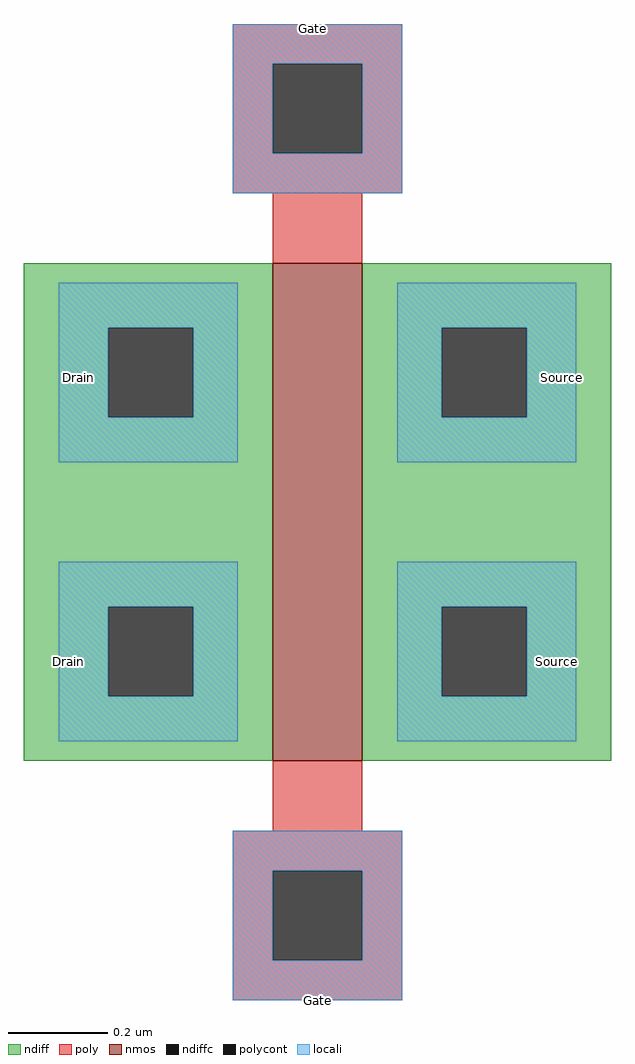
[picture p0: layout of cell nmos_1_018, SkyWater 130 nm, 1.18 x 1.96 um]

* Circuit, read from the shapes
.subckt nmos_1_018 Gate Drain Source
XM1 Source Gate Drain VSUBS sky130_fd_pr__nfet_01v8 w=1 l=0.18
.ends

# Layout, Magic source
magic
tech sky130A
<< nmos >>
rect 53 142 71 242
<< ndiff >>
rect 3 229 53 242
rect 3 211 20 229
rect 37 211 53 229
rect 3 173 53 211
rect 3 155 20 173
rect 37 155 53 173
rect 3 142 53 155
rect 71 229 121 242
rect 71 211 87 229
rect 104 211 121 229
rect 71 173 121 211
rect 71 155 87 173
rect 104 155 121 173
rect 71 142 121 155
<< ndiffc >>
rect 20 211 37 229
rect 20 155 37 173
rect 87 211 104 229
rect 87 155 104 173
<< poly >>
rect 45 282 79 290
rect 45 264 53 282
rect 71 264 79 282
rect 45 256 79 264
rect 53 242 71 256
rect 53 128 71 142
rect 45 120 79 128
rect 45 102 53 120
rect 71 102 79 120
rect 45 94 79 102
<< polycont >>
rect 53 264 71 282
rect 53 102 71 120
<< locali >>
rect 45 282 79 290
rect 45 264 53 282
rect 71 264 79 282
rect 45 256 79 264
rect 10 229 46 238
rect 10 211 20 229
rect 37 211 46 229
rect 10 202 46 211
rect 78 229 114 238
rect 78 211 87 229
rect 104 211 114 229
rect 78 202 114 211
rect 10 173 46 182
rect 10 155 20 173
rect 37 155 46 173
rect 10 146 46 155
rect 78 173 114 182
rect 78 155 87 173
rect 104 155 114 173
rect 78 146 114 155
rect 45 120 79 128
rect 45 102 53 120
rect 71 102 79 120
rect 45 94 79 102
<< labels >>
rlabel locali 62 94 62 94 1 Gate
port 1 n
rlabel locali 61 289 61 289 5 Gate
port 2 s
rlabel locali 12 162 12 162 1 Drain
port 4 n
rlabel locali 111 219 111 219 1 Source
port 5 n
rlabel locali 110 162 110 162 1 Source
port 6 n
rlabel locali 14 219 14 219 1 Drain
port 3 n
<< end >>
